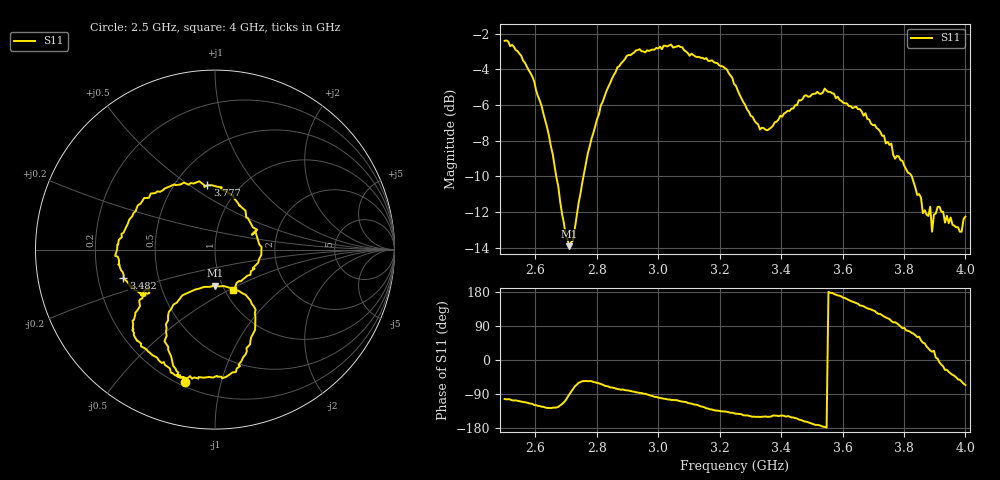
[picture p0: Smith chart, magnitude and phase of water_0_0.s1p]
# MHz S MA R 50
!  freq  S11
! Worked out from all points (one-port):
!   250 points, 2.5 GHz to 4 GHz, reference 50 ohm
!   lowest |S11| = -13.9 dB at 2.711 GHz (marker M1), VSWR 1.50, Z = 46 - j19.3 ohm
!   |S11| at or under -10 dB: 2.668 GHz to 2.757 GHz (88.8 MHz wide, 3.27 % of centre); 3.825 GHz to end of sweep
!   S11 on the Smith chart (normalised r, x): 2.5 GHz: 0.22, -0.77; 3.482 GHz: 0.31, -0.14; 3.777 GHz: 0.72, +0.59; 4 GHz: 1.09, -0.52
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2500  0.7583 -102.8
2554.217  0.6882 -109.8
2620.482  0.4977 -123.3
2692.771  0.2343 -112.0
2710.843  0.2013 -90.5
2740.964  0.2661 -60.0
2783.133  0.4036 -55.9
2879.518  0.6563 -78.5
2939.759  0.7185 -86.9
3066.265  0.7349 -107.6
3168.675  0.666 -130.4
3253.012  0.5668 -141.6
3331.325  0.4276 -150.4
3439.759  0.4899 -151.7
3481.928  0.5336 -162.8
3542.169  0.5572 -176.4
3626.506  0.4973 155.8
3716.867  0.4282 121.8
3777.108  0.3607 96.8
3813.253  0.3234 76.8
3861.446  0.2492 45.7
3885.542  0.2598 25.2
3891.566  0.221 21.9
3897.59  0.2468 24.4
3909.639  0.2593 3.4
3933.735  0.2343 -26.2
3987.952  0.2211 -57.0
4000  0.2436 -66.0
